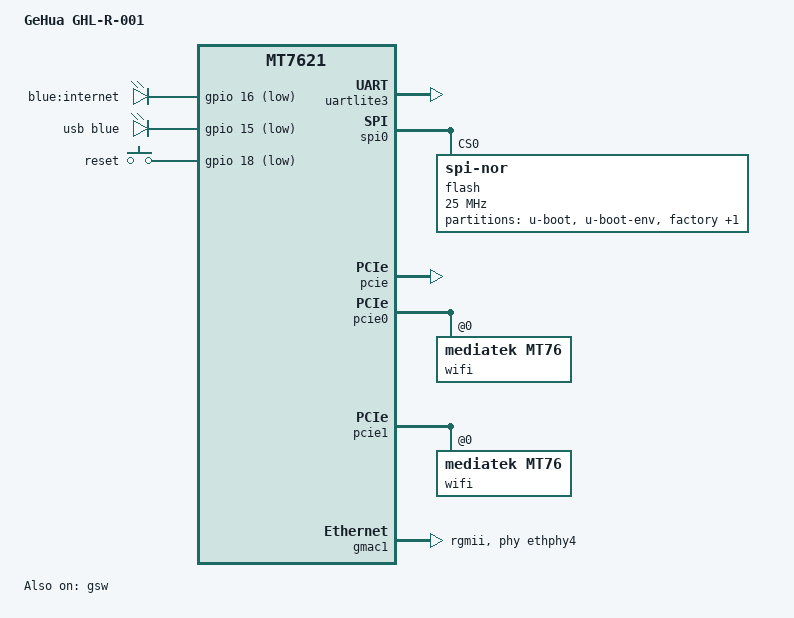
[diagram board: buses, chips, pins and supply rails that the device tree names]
// SPDX-License-Identifier: GPL-2.0-or-later OR MIT

#include "mt7621.dtsi"

#include <dt-bindings/gpio/gpio.h>
#include <dt-bindings/input/input.h>
#include <dt-bindings/leds/common.h>

/ {
	compatible = "gehua,ghl-r-001", "mediatek,mt7621-soc";
	model = "GeHua GHL-R-001";

	aliases {
		label-mac-device = &gmac0;
	};

	leds {
		compatible = "gpio-leds";

		internet {
			label = "blue:internet";
			gpios = <&gpio 16 GPIO_ACTIVE_LOW>;
		};

		usb {
			function = LED_FUNCTION_USB;
			color = <LED_COLOR_ID_BLUE>;
			gpios = <&gpio 15 GPIO_ACTIVE_LOW>;
			trigger-sources = <&xhci_ehci_port1>, <&ehci_port2>;
			linux,default-trigger = "usbport";
		};
	};

	keys {
		compatible = "gpio-keys";

		reset {
			label = "reset";
			gpios = <&gpio 18 GPIO_ACTIVE_LOW>;
			linux,code = <KEY_RESTART>;
		};
	};
};

&uartlite3 {
	status = "okay";
};

&spi0 {
	status = "okay";

	flash@0 {
		compatible = "jedec,spi-nor";
		reg = <0>;
		spi-max-frequency = <25000000>;
		broken-flash-reset;
		m25p,fast-read;

		partitions {
			compatible = "fixed-partitions";
			#address-cells = <1>;
			#size-cells = <1>;

			partition@0 {
				label = "u-boot";
				reg = <0x0 0x30000>;
				read-only;
			};

			partition@30000 {
				label = "u-boot-env";
				reg = <0x30000 0x10000>;
				read-only;
			};

			partition@40000 {
				label = "factory";
				reg = <0x40000 0x10000>;
				read-only;

				nvmem-layout {
					compatible = "fixed-layout";
					#address-cells = <1>;
					#size-cells = <1>;

					eeprom_factory_0: eeprom@0 {
						reg = <0x0 0x400>;
					};

					eeprom_factory_8000: eeprom@8000 {
						reg = <0x8000 0x200>;
					};

					macaddr_factory_e000: macaddr@e000 {
						compatible = "mac-base";
						reg = <0xe000 0x6>;
						#nvmem-cell-cells = <1>;
					};
				};
			};

			partition@50000 {
				compatible = "denx,uimage";
				label = "firmware";
				reg = <0x50000 0x1fb0000>;
			};
		};
	};
};

&pcie {
	status = "okay";
};

&pcie0 {
	wifi@0,0 {
		compatible = "mediatek,mt76";
		reg = <0x0000 0 0 0 0>;
		nvmem-cells = <&eeprom_factory_0>;
		nvmem-cell-names = "eeprom";
	};
};

&pcie1 {
	wifi@0,0 {
		compatible = "mediatek,mt76";
		reg = <0x0000 0 0 0 0>;
		nvmem-cells = <&eeprom_factory_8000>;
		nvmem-cell-names = "eeprom";
		ieee80211-freq-limit = <5000000 6000000>;

		led {
			led-sources = <2>;
			led-active-low;
		};
	};
};

&gmac0 {
	nvmem-cells = <&macaddr_factory_e000 0>;
	nvmem-cell-names = "mac-address";
};

&gmac1 {
	status = "okay";
	phy-handle = <&ethphy4>;
	phy-mode = "rgmii";

	nvmem-cells = <&macaddr_factory_e000 1>;
	nvmem-cell-names = "mac-address";
};

&ethphy4 {
	/delete-property/ interrupts;
};

&switch0 {
	/* must delete compatible property */
	/delete-property/ compatible;
};

&gsw {
	compatible = "mediatek,mt753x";
	status = "okay";

	mediatek,mdio = <&mdio>;
	mediatek,portmap = "llllw";
	mt7530,direct-phy-access;
	resets = <&sysc MT7621_RST_MCM>;
	reset-names = "mcm";
	mediatek,mcm;

	#address-cells = <1>;
	#size-cells = <0>;

	port5: port@5 {
		compatible = "mediatek,mt753x-port";
		reg = <5>;
		phy-mode = "rgmii";
		phy-address = <0x4>;
	};

	port6: port@6 {
		compatible = "mediatek,mt753x-port";
		reg = <6>;
		phy-mode = "rgmii";
		fixed-link {
			speed = <1000>;
			full-duplex;
		};
	};
};

&state_default {
	gpio {
		groups = "jtag", "wdt";
		function = "gpio";
	};
};
